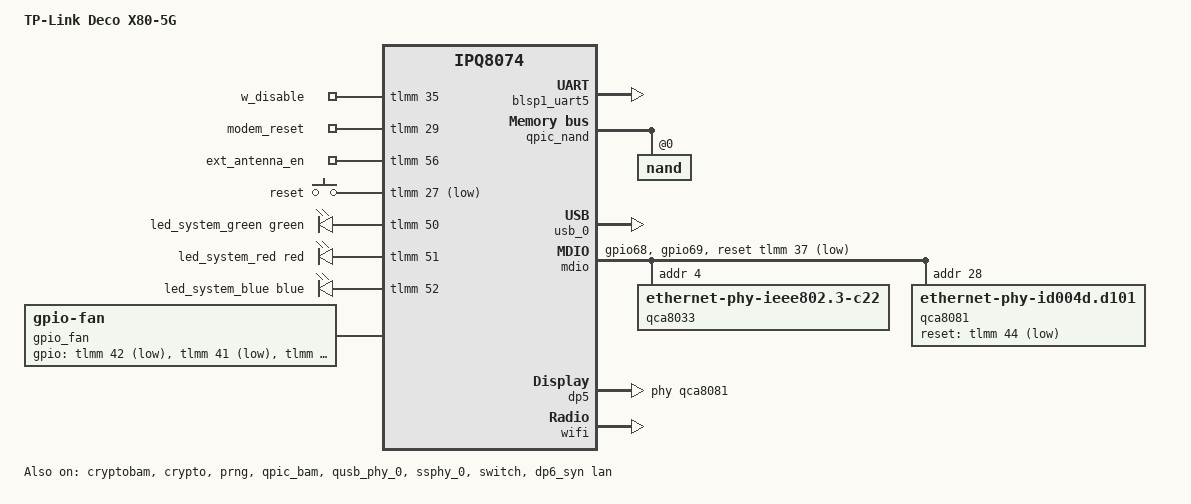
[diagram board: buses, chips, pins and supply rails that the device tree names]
// SPDX-License-Identifier: GPL-2.0-or-later OR MIT
/* Copyright (c) 2022, Robert Marko <robimarko@gmail.com>
altered by Jonathan Brophy <professor_jonny@hotmail.com>
to suit the TP-Link Deco X80-5G target */

/dts-v1/;

#include "ipq8074.dtsi"
#include "ipq8074-hk-cpu.dtsi"
#include "ipq8074-ess.dtsi"
#include <dt-bindings/gpio/gpio.h>
#include <dt-bindings/input/input.h>
#include <dt-bindings/leds/common.h>

/ {
	model = "TP-Link Deco X80-5G";
	compatible = "tplink,deco-x80-5g", "qcom,ipq8074";

	aliases {
		 serial0 = &blsp1_uart5;
 	};

	chosen {
		stdout-path = "serial0:115200n8";
		bootargs-append = " root=/dev/ubiblock0_1";
	};

	modem {
		compatible = "gpio-export";
		pinctrl-names = "default";
		pinctrl-0 = <&modem_pins>;
		pinctrl-1 = <&antenna_pins>;

		w_disable {
			gpio-export,name = "w_disable";
			gpio-export,output = <1>;
			gpios = <&tlmm 35 GPIO_ACTIVE_HIGH>; /* wwan disable output */
		};

		modem-reset {
			gpio-export,name = "modem_reset";
			gpio-export,output = <0>;
			gpios = <&tlmm 29 GPIO_ACTIVE_HIGH>; /* reset modem output */
		};

		ext_antenna_en {
			gpio-export,name = "ext_antenna_en";
			gpio-export,output = <0>;
			gpios = <&tlmm 56 GPIO_ACTIVE_HIGH>; /* select external sma antennas for wwan output */
		};
	};

	gpio_keys {
		compatible = "gpio-keys";
		pinctrl-0 = <&button_pins>;
		pinctrl-names = "default";

		reset_button {
			label = "reset";
			gpios = <&tlmm 27 GPIO_ACTIVE_LOW>; /*reset button output*/
			linux,code = <KEY_RESTART>;
		};
	};

	leds {
		compatible = "gpio-leds";
		pinctrl-0 = <&led_pins>;
		pinctrl-names = "default";
		/*note the LED's defined here are not individual they are a single combined RGB element used for status functions.
		To mimic the OEM default behaviour green and red are switched on from boot to indicate yellow (power on).*/

		led_system_green: green {
			gpios = <&tlmm 50 GPIO_ACTIVE_HIGH>;
			color = <LED_COLOR_ID_GREEN>;
			function = LED_FUNCTION_STATUS;
			default-state = "on";
		};

		led_system_red: red {
			gpios = <&tlmm 51 GPIO_ACTIVE_HIGH>;
			color = <LED_COLOR_ID_RED>;
			function = LED_FUNCTION_STATUS;
			default-state = "on";
		};

		led_system_blue: blue {
			gpios = <&tlmm 52 GPIO_ACTIVE_HIGH>;
			color = <LED_COLOR_ID_BLUE>;
			function = LED_FUNCTION_STATUS;
		};
	};

	gpio_fan: gpio-fan {
		compatible = "gpio-fan";
		pinctrl-0 = <&fan_pins>;
		pinctrl-names = "default";
		gpios = <&tlmm 42 GPIO_ACTIVE_LOW>, /* fan gpio MSB */
			<&tlmm 41 GPIO_ACTIVE_LOW>,
			<&tlmm 40 GPIO_ACTIVE_LOW>; /* fan gpio LSB */

		/* stock fan is a Sunnon EF40201BX-Q18C-F99
		6800 rpm
		gpio68 seemed to be the feedback rpm of the fan.
		no support for fan speed in kernel saved for future use.*/

		/*rpm-gpios = <&tlmm 68 GPIO_ACTIVE_HIGH>; */
		gpio-fan,speed-map = <0 0>, /* speed 0 binary drive bits 0,0,0 (idle state) */
				<971 1>, /* speed 1 binary drive bits 0,0,1      ▼ */
				<1942 2>, /* speed 3 binary drive bits 0,1,0 (active state) */
				<2913 3>, /* speed 4 binary drive bits 0,1,1      ▼ */
				<3884 4>, /* speed 5 binary drive bits 1,0,0      ▼ */
				<4855 5>, /* speed 6 binary drive bits 1,0,1 (high state) */
				<5826 6>, /* speed 7 binary drive bits 1,1,0      ▼ */
				<6800 7>; /* speed 8 binary drive bits 1,1,1      ▼ */
		#cooling-cells = <2>;  /* min followed by max */
	};
};

&cpu0_thermal {
	trips {
		cpu0_high: cpu-high {
			temperature = <70000>;
			hysteresis = <2000>;
			type = "active";
		};
		cpu0_active: cpu-active {
			temperature = <50000>;
			hysteresis = <2000>;
			type = "active";
		};
		cpu0_idle: cpu-idle {
			temperature = <25000>;
			hysteresis = <2000>;
			type = "active";
		};
	};

	cooling-maps {
		map2 {
			trip = <&cpu0_high>;
			cooling-device = <&gpio_fan 5 THERMAL_NO_LIMIT>;
		};
		map3 {
			trip = <&cpu0_active>;
			cooling-device = <&gpio_fan 2 4>;
		};
		map4 {
			trip = <&cpu0_idle>;
			cooling-device = <&gpio_fan THERMAL_NO_LIMIT 1>;
		};
	};
};

&cpu1_thermal {
	trips {
		cpu1_high: cpu-high {
			temperature = <70000>;
			hysteresis = <2000>;
			type = "active";
		};
		cpu1_active: cpu-active {
			temperature = <50000>;
			hysteresis = <2000>;
			type = "active";
		};
		cpu1_idle: cpu-idle {
			temperature = <25000>;
			hysteresis = <2000>;
			type = "active";
		};
	};

	cooling-maps {
		map2 {
			trip = <&cpu1_high>;
			cooling-device = <&gpio_fan 5 THERMAL_NO_LIMIT>;
		};
		map3 {
			trip = <&cpu1_active>;
			cooling-device = <&gpio_fan 2 4>;
		};
		map4 {
			trip = <&cpu1_idle>;
			cooling-device = <&gpio_fan THERMAL_NO_LIMIT 1>;
		};
	};
};

&cpu2_thermal {
	trips {
		cpu2_high: cpu-high {
			temperature = <70000>;
			hysteresis = <2000>;
			type = "active";
		};
		cpu2_active: cpu-active {
			temperature = <50000>;
			hysteresis = <2000>;
			type = "active";
		};
		cpu2_idle: cpu-idle {
			temperature = <25000>;
			hysteresis = <2000>;
			type = "active";
		};
	};

	cooling-maps {
		map2 {
			trip = <&cpu2_high>;
			cooling-device = <&gpio_fan 5 THERMAL_NO_LIMIT>;
		};
		map3 {
			trip = <&cpu2_active>;
			cooling-device = <&gpio_fan 2 4>;
		};
		map4 {
			trip = <&cpu2_idle>;
			cooling-device = <&gpio_fan THERMAL_NO_LIMIT 1>;
		};
	};
};

&cpu3_thermal {
	trips {
		cpu3_high: cpu-high {
			temperature = <70000>;
			hysteresis = <2000>;
			type = "active";
		};
		cpu3_active: cpu-active {
			temperature = <50000>;
			hysteresis = <2000>;
			type = "active";
		};
		cpu3_idle: cpu-idle {
			temperature = <25000>;
			hysteresis = <2000>;
			type = "active";
		};
	};

	cooling-maps {
		map2 {
			trip = <&cpu3_high>;
			cooling-device = <&gpio_fan 5 THERMAL_NO_LIMIT>;
		};
		map3 {
			trip = <&cpu3_active>;
			cooling-device = <&gpio_fan 2 4>;
		};
		map4 {
			trip = <&cpu3_idle>;
			cooling-device = <&gpio_fan THERMAL_NO_LIMIT 1>;
		};
	};
};


&cluster_thermal {
	trips {
		cluster_high: cluster-high {
			temperature = <70000>;
			hysteresis = <2000>;
			type = "active";
		};
		cluster_active: cluster-active {
			temperature = <50000>;
			hysteresis = <2000>;
			type = "active";
		};
		cluster_idle: cluster-idle {
			temperature = <25000>;
			hysteresis = <2000>;
			type = "active";
		};
	};

	cooling-maps {
		map2 {
			trip = <&cluster_high>;
			cooling-device = <&gpio_fan 5 THERMAL_NO_LIMIT>;
		};
		map3 {
			trip = <&cluster_active>;
			cooling-device = <&gpio_fan 2 4>;
		};
		map4 {
			trip = <&cluster_idle>;
			cooling-device = <&gpio_fan THERMAL_NO_LIMIT 1>;
		};
	};
};


&tlmm {
	button_pins: button-state {
		pins = "gpio27";
		function = "gpio";
		drive-strength = <2>;
		bias-pull-up;
	};

	fan_pins: fan-state {
		pins = "gpio40", "gpio41", "gpio42";
		function = "gpio";
		drive-strength = <2>;
		bias-disable;
	};

	antenna_pins: antenna-state {
		pins = "gpio56";
		function = "gpio";
		drive-strength = <2>;
		bias-disable;
	};

	modem_pins: modem-state {
		pins = "gpio29", "gpio55";
		function = "gpio";
		drive-strength = <2>;
		bias-disable;
	};

	led_pins: led-state {
		pins = "gpio50", "gpio51", "gpio52";
		function = "gpio";
		drive-strength = <8>;
		bias-disable;
	};

	mdio_pins: mdio-pins {
		mdc {
			pins = "gpio68";
			function = "mdc";
			drive-strength = <8>;
			bias-pull-up;
		};

		mdio {
			pins = "gpio69";
			function = "mdio";
			drive-strength = <8>;
			bias-pull-up;
		};
	};
};

&blsp1_uart5 {
	status = "okay";
};

&cryptobam {
	status = "okay";
};

&crypto {
	status = "okay";
};

&prng {
	status = "okay";
};

&qpic_bam {
	status = "okay";
};

&qpic_nand {
	status = "okay";

	nand@0 {
		reg = <0>;
		nand-ecc-strength = <4>;
		nand-ecc-step-size = <512>;
		nand-bus-width = <8>;

		partitions {
			compatible = "qcom,smem-part"; /* define SMEM partition table */

		};
	};
};

&qusb_phy_0 {
	status = "okay";
};

&ssphy_0 {
	status = "okay";
};

&usb_0 {
	status = "okay";
};

&mdio {
	status = "okay";

	pinctrl-0 = <&mdio_pins>;
	pinctrl-names = "default";
	reset-gpios = <&tlmm 37 GPIO_ACTIVE_LOW>;

	qca8033: ethernet-phy@4 {
		compatible = "ethernet-phy-ieee802.3-c22"; /* lan phy */
		reg = <4>;
	};

	qca8081: ethernet-phy@28 {
		compatible = "ethernet-phy-id004d.d101"; /* wan phy */
		reg = <28>;
		reset-deassert-us = <10000>;
		reset-gpios = <&tlmm 44 GPIO_ACTIVE_LOW>;
	};
};


&switch {
	status = "okay";

	switch_wan_bmp = <ESS_PORT5>; /* wan port bitmap */
	switch_lan_bmp = <ESS_PORT6>; /* lan port bitmap */
	switch_mac_mode1 = <MAC_MODE_SGMII_PLUS>; /* mac mode for uniphy instance1*/
	switch_mac_mode2 = <MAC_MODE_SGMII_CHANNEL0>; /* mac mode for uniphy instance2*/

	qcom,port_phyinfo {
		port@5 {
			port_id = <5>;
			phy_address = <28>;
			port_mac_sel = "QGMAC_PORT";
		};
		port@6 {
			port_id = <6>;
			phy_address = <4>;
		};
	};
};

&edma {
	status = "okay";
};

&dp5 {
	status = "okay";
	phy-handle = <&qca8081>;
	label = "wan";
};

&dp6_syn {
	status = "okay";
	phy-handle = <&qca8033>;
	label = "lan";
};

&wifi {
	status = "okay";
	qcom,ath11k-calibration-variant = "tplink_deco-x80-5g";
};
